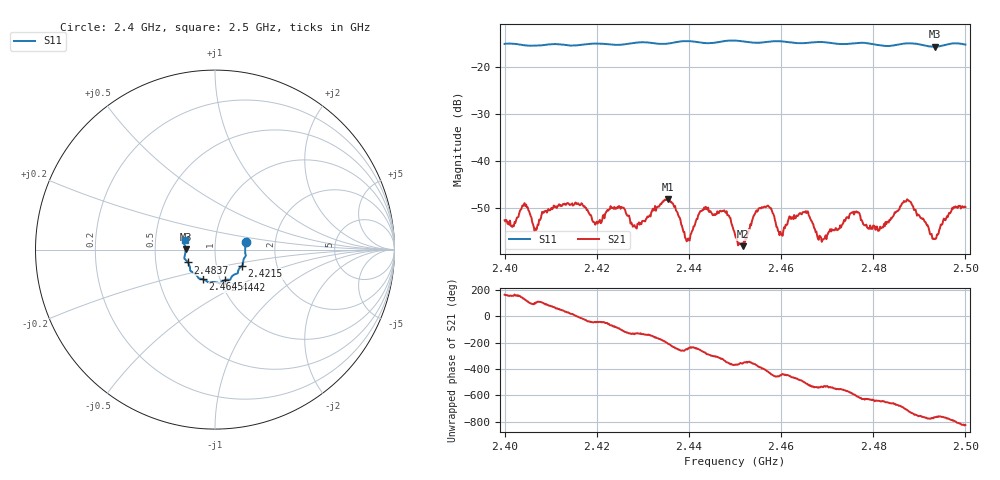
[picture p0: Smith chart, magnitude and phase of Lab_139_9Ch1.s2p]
# Hz S RI R 50
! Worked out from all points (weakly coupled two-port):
!   601 points, 2.4 GHz to 2.5 GHz, reference 50 ohm
!   highest |S21| = -48.02 dB at 2.4355 GHz (marker M1); lowest = -58.0 dB at 2.4517 GHz (marker M2)
!   lowest |S11| = -15.7 dB at 2.4933 GHz (marker M3), VSWR 1.39, Z = 35.9 + j0.104 ohm
!   |S11| at or under -10 dB: start of sweep to end of sweep
!   S12 and S22 are empty: the file has one direction only
!   S11 on the Smith chart (normalised r, x): 2.4 GHz: 1.41, +0.12; 2.4215 GHz: 1.33, -0.25; 2.4442 GHz: 1.05, -0.37; 2.4645 GHz: 0.83, -0.29; 2.4837 GHz: 0.73, -0.11; 2.5 GHz: 0.71, +0.07
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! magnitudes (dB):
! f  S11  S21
! 2.4 GHz  -15.1  -52.5
! 2.4167 GHz  -15.3  -48.9
! 2.4215 GHz  -15.1  -51.4
! 2.4253 GHz  -15.3  -49.7
! 2.4283 GHz  -14.9  -53.9
! 2.4333 GHz  -15.1  -49.6
! 2.4355 GHz  -15.0  -48.0
! 2.4397 GHz  -14.5  -56.8
! 2.4442 GHz  -15.0  -49.8
! 2.45 GHz  -14.4  -55.5
! 2.4517 GHz  -14.6  -58.0
! 2.4557 GHz  -14.8  -50.0
! 2.4598 GHz  -14.6  -55.0
! 2.4645 GHz  -15.0  -51.3
! 2.4667 GHz  -14.8  -52.8
! 2.4693 GHz  -14.7  -56.4
! 2.4758 GHz  -15.0  -51.3
! 2.4833 GHz  -15.6  -53.0
! 2.4837 GHz  -15.5  -52.5
! 2.4877 GHz  -15.0  -48.3
! 2.4933 GHz  -15.7  -56.5
! 2.5 GHz  -15.3  -49.7
